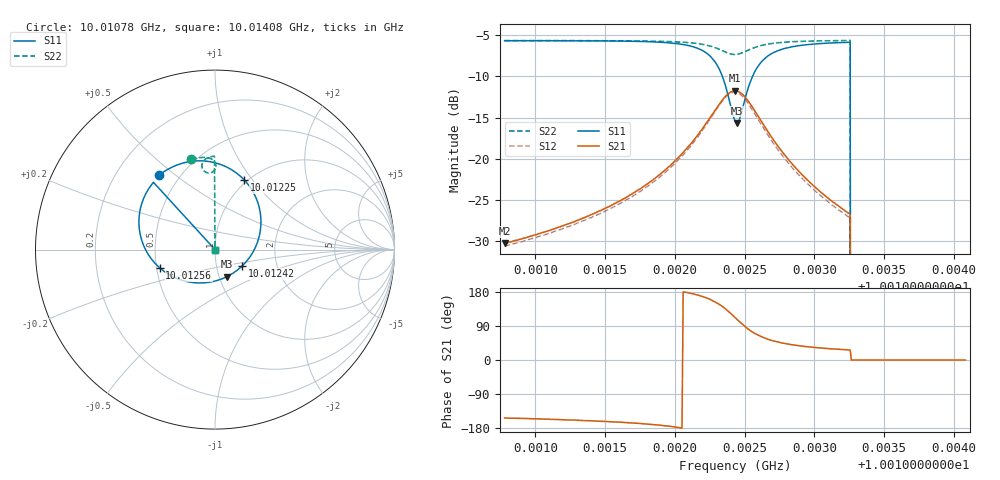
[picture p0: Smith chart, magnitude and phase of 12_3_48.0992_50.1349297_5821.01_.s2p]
#  HZ  S  RI  R  50.00
! Rohde & Schwarz Vector Network Analyzer
! Rohde-Schwarz,ZNB20-2Port,1311601062101988,3.16
! Created: UTC 12/23/2023, 3:35:46 AM
! freq[Hz]  re:S11  im:S11  re:S21  im:S21  re:S12  im:S12  re:S22  im:S22
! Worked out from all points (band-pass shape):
!   401 points, 10.01078 GHz to 10.01408 GHz, reference 50 ohm
!   highest |S21| = -11.76 dB at 10.01243 GHz (marker M1); lowest = -30.2 dB at 10.01078 GHz (marker M2)
!   |S21| within 3 dB of the highest: 10.01226 GHz to 10.01259 GHz (331.8 kHz wide, 0.00331 % of centre)
!   lowest |S11| = -15.7 dB at 10.01245 GHz (marker M3), VSWR 1.39, Z = 54.4 - j16.9 ohm
!   |S11| at or under -10 dB: 10.01234 GHz to 10.01256 GHz (217.1 kHz wide, 0.00217 % of centre); 10.01326 GHz to end of sweep
!   |S22| runs from - to -5.7 dB; largest |S21 - S12| = 0.012
!   S11 on the Smith chart (normalised r, x): 10.01078 GHz: 0.38, +0.44; 10.01225 GHz: 0.96, +0.91; 10.01242 GHz: 1.33, -0.25; 10.01256 GHz: 0.52, -0.12; 10.01408 GHz: 1.00, +0.00
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1.001078e10  -0.3144 0.4129  -0.0274 -0.014  -0.0255 -0.0149  -0.1318 0.503
1.0011333e10  -0.2561 0.4509  -0.0407 -0.015  -0.0384 -0.0166  -0.0929 0.5113
1.001163e10  -0.2051 0.4737  -0.0551 -0.0151  -0.0523 -0.0171  -0.0693 0.5139
1.0011886e10  -0.1294 0.4921  -0.0788 -0.0114  -0.0754 -0.0149  -0.0453 0.513
1.0012117e10  0.0119 0.4806  -0.1237 0.00912  -0.1207 0.00227  -0.0169 0.5037
1.0012249e10  0.1625 0.3887  -0.1659 0.0588  -0.1654 0.0485  0.00147 0.4828
1.0012299e10  0.2231 0.3001  -0.1778 0.098  -0.1797 0.088  0.00504 0.4676
1.0012348e10  0.2559 0.1614  -0.1751 0.1513  -0.179 0.1413  0.00111 0.4489
1.001239e10  0.227 0.0165  -0.1484 0.2017  -0.1538 0.1933  -0.0114 0.434
1.0012423e10  0.1516 -0.091  -0.1091 0.2336  -0.1156 0.2256  -0.0269 0.4275
1.0012431e10  0.1243 -0.1148  -0.0967 0.2393  -0.1022 0.2321  -0.0317 0.427
1.0012447e10  0.0669 -0.1507  -0.0726 0.2464  -0.0773 0.2396  -0.0404 0.4276
1.0012497e10  -0.1207 -0.1838  -0.00032 0.2399  -0.00512 0.2326  -0.0621 0.439
1.0012563e10  -0.3083 -0.1014  0.0613 0.1915  0.0542 0.1852  -0.0729 0.4634
1.0012621e10  -0.3867 -0.000528  0.0803 0.1478  0.0733 0.1427  -0.0706 0.481
1.0012695e10  -0.4207 0.1078  0.0836 0.1056  0.0763 0.1029  -0.0622 0.4957
1.0012819e10  -0.4167 0.2241  0.0732 0.0648  0.067 0.0644  -0.0464 0.5087
1.0012984e10  -0.3877 0.3071  0.0581 0.0388  0.0535 0.0393  -0.0281 0.5163
1.001324e10  -0.3454 0.3723  0.0422 0.021  0.0389 0.022  -0.00444 0.5208
1.0013281e10  0 0  0 0  0 0  0 0
1.0013537e10  0 0  0 0  0 0  0 0
1.0014081e10  0 0  0 0  0 0  0 0
